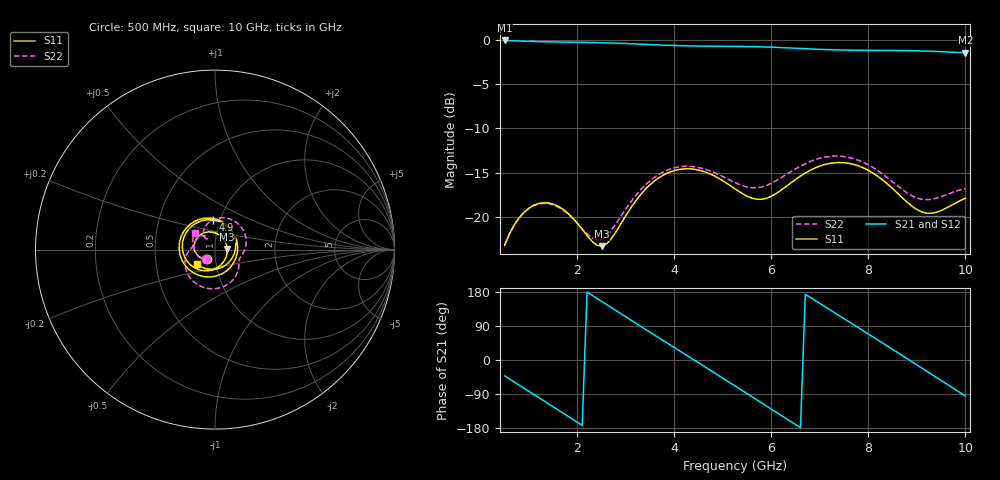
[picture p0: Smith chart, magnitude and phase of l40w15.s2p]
! Touchstone file exported from HFSS 3D Layout Design 2026.1.0
!  File:  D:/Work/ADS/HFSS_VERDICT/hfss_sma_connector_cpw.aedt
!  Generated:  02:48:42 PM Aug  6, 2026
!  Design:  SINGLE_END_SMA_CPW_30MM
!  Project:  hfss_sma_connector_cpw
! Variables:
!  $sma_Base_D = 6.25mm
!  $sma_Base_L = 8mm
!  $sma_Feet_L = 4mm
!  $sma_Feet_W = 1mm
!  $sma_Front_L = 1.5mm
!  $sma_Front_W = 6.5mm
!  $sma_Hole_D = 1.25mm
!  $sma_PTFE_D = 4.2mm
!  $sma_Pin_D = 0.95mm
!  $sma_Pin_P = 1.7mm
# GHz S MA R 50.000000
! Terminal data exported
! Port[1] = Port1
! Port[2] = S1_1_Pin_T1
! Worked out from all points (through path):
!   96 points, 500 MHz to 10 GHz, reference 50 ohm
!   highest |S21| = -0.11 dB at 500 MHz (marker M1); lowest = -1.5 dB at 10 GHz (marker M2)
!   group delay of S21, straight-line fit = 226 ps
!   lowest |S11| = -23.3 dB at 2.5 GHz (marker M3), VSWR 1.15, Z = 57.3 + j0.357 ohm
!   |S11| at or under -10 dB: start of sweep to end of sweep
!   |S22| runs from -23.2 to -13.1 dB; largest |S21 - S12| = 1.7e-14
!   S11 on the Smith chart (normalised r, x): 500 MHz: 0.91, -0.09; 4.9 GHz: 0.93, +0.32; 10 GHz: 0.81, -0.13
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0.5  0.06902 -132.1  0.9877 -41.7  0.9877 -41.7  0.06928 -133.2
0.9  0.1061 -165.8  0.9785 -74.5  0.9785 -74.5  0.1059 -166.3
1.3  0.1201 159.5  0.9715 -107.1  0.9715 -107.1  0.1192 163.2
1.7  0.1106 121.2  0.9672 -139.7  0.9672 -139.7  0.1094 137.3
2.1  0.085 73.1  0.9641 -172.4  0.9641 -172.4  0.08575 122.2
2.5  0.06835 2.6  0.9595 154.8  0.9595 154.8  0.07482 127.2
3.1  0.1122 -95.4  0.9469 105.7  0.9469 105.7  0.1214 121.8
3.7  0.1675 -156.7  0.9312 56.9  0.9312 56.9  0.1749 86.2
4.3  0.1867 150.0  0.9203 8.6  0.9203 8.6  0.1928 44.8
4.9  0.1658 93.3  0.9162 -39.9  0.9162 -39.9  0.1739 7.5
5.3  0.1408 48.1  0.9142 -72.5  0.9142 -72.5  0.1539 -10.6
5.7  0.1256 -6.4  0.9101 -105.2  0.9101 -105.2  0.1459 -22.1
6.2  0.1414 -76.2  0.9003 -146.0  0.9003 -146.0  0.166 -37.5
6.9  0.1887 -152.7  0.8825 157.2  0.8825 157.2  0.2101 -74.9
7.3  0.2019 170.2  0.8745 125.0  0.8745 125.0  0.2202 -100.8
7.7  0.1975 134.0  0.87 92.8  0.87 92.8  0.2128 -127.0
8.1  0.1762 96.2  0.8684 60.5  0.8684 60.5  0.1893 -151.4
8.5  0.1443 53.8  0.8674 28.0  0.8674 28.0  0.1574 -171.2
8.8  0.1209 16.5  0.8655 3.4  0.8655 3.4  0.1365 178.8
9.2  0.1049 -41.2  0.8601 -29.4  0.8601 -29.4  0.125 170.7
9.6  0.1119 -97.3  0.8516 -62.2  0.8516 -62.2  0.1332 159.2
10  0.1275 -142.6  0.8413 -94.8  0.8413 -94.8  0.1442 139.0
